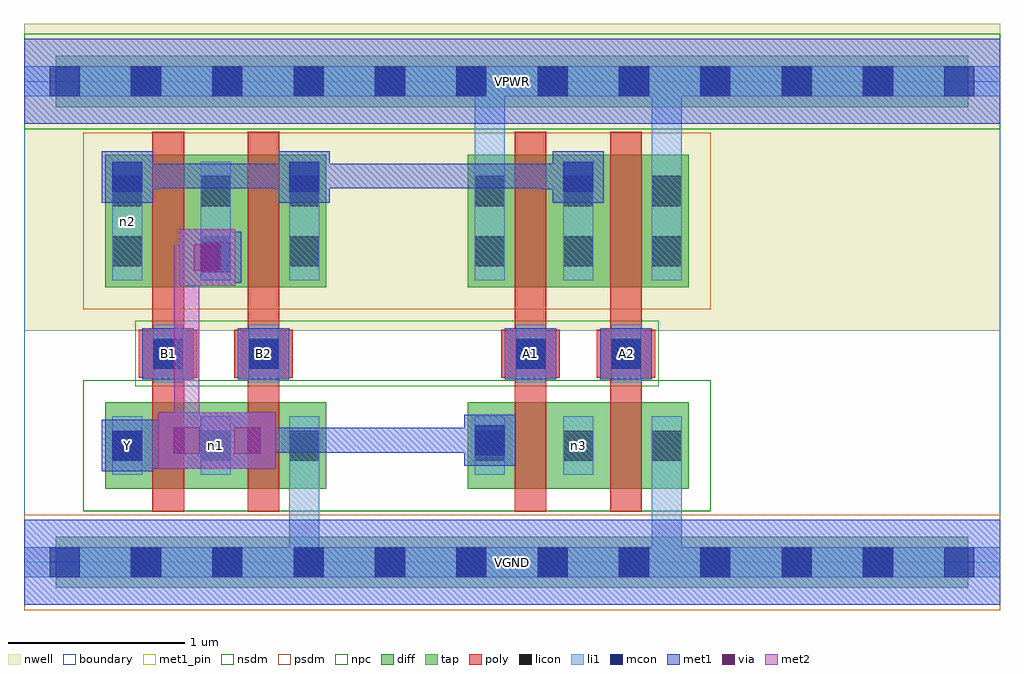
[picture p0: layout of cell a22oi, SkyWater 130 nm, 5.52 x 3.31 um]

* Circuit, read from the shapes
.subckt a22oi A1 A2 B1 B2 VGND VPWR Y n1 n2 n3
XM1 n1 B1 Y VGND sky130_fd_pr__nfet_01v8 w=0.49 l=0.18
XM2 VGND B2 n1 VGND sky130_fd_pr__nfet_01v8 w=0.49 l=0.18
XM3 n3 A1 Y VGND sky130_fd_pr__nfet_01v8 w=0.49 l=0.18
XM4 VGND A2 n3 VGND sky130_fd_pr__nfet_01v8 w=0.49 l=0.18
XM5 Y B1 n2 VPWR sky130_fd_pr__pfet_01v8 w=0.75 l=0.18
XM6 n2 B2 Y VPWR sky130_fd_pr__pfet_01v8 w=0.75 l=0.18
XM7 n2 A1 VPWR VPWR sky130_fd_pr__pfet_01v8 w=0.75 l=0.18
XM8 VPWR A2 n2 VPWR sky130_fd_pr__pfet_01v8 w=0.75 l=0.18
.ends

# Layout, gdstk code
import gdstk
lib = gdstk.Library(unit=1e-6, precision=1e-09)
def R(c, l, rs):  # rectangles x0, y0, x1, y1
    for r in rs: c.add(gdstk.rectangle(r[:2], r[2:], *l))
def A(c, l, x, y, w, h, nx, ny, dx, dy):  # array of equal rectangles
    R(c, l, [(x+i*dx, y+j*dy, x+i*dx+w, y+j*dy+h) for i in range(nx) for j in range(ny)])
nwell = (64, 20)
diff = (65, 20)
tap = (65, 44)
poly = (66, 20)
licon = (66, 44)
li1 = (67, 20)
mcon = (67, 44)
met1_pin = (68, 16)
met1 = (68, 20)
via = (68, 44)
met2 = (69, 20)
nsdm = (93, 44)
psdm = (94, 20)
npc = (95, 20)
boundary = (235, 4)

a22oi = lib.new_cell('a22oi')
R(a22oi, nwell, [(0,1.31,5.52,3.045)])
R(a22oi, diff, [(0.46,0.415,1.71,0.905), (2.51,0.415,3.76,0.905), (0.46,1.555,1.71,2.305), (2.51,1.555,3.76,2.305)])
R(a22oi, tap, [(0.18,-0.145,5.34,0.145), (0.18,2.575,5.34,2.865)])
R(a22oi, poly, [(0.725,0.285,0.905,2.435), (1.265,0.285,1.445,2.435), (2.775,0.285,2.955,2.435), (3.315,0.285,3.495,2.435), (0.65,1.045,0.98,1.315), (1.19,1.045,1.52,1.315), (2.7,1.045,3.03,1.315), (3.24,1.045,3.57,1.315)])
A(a22oi, licon, 0.605, -0.085, 0.17, 0.17, 10, 2, 0.46, 2.72)
A(a22oi, licon, 0.5, 0.575, 0.17, 0.17, 3, 2, 0.5, 1.1)
A(a22oi, licon, 2.55, 0.575, 0.17, 0.17, 3, 2, 0.5, 1.1)
A(a22oi, licon, 0.5, 2.015, 0.17, 0.17, 3, 1, 0.5, 0)
A(a22oi, licon, 2.55, 2.015, 0.17, 0.17, 3, 1, 0.5, 0)
R(a22oi, licon, [(0.73,1.095,0.9,1.265), (1.27,1.095,1.44,1.265), (2.78,1.095,2.95,1.265), (3.32,1.095,3.49,1.265)])
A(a22oi, li1, 0.5, 0.495, 0.17, 0.33, 3, 1, 0.5, 0)
A(a22oi, li1, 2.55, 0.495, 0.17, 0.33, 3, 1, 0.5, 0)
A(a22oi, li1, 0.5, 1.595, 0.17, 0.67, 3, 1, 0.5, 0)
A(a22oi, li1, 2.55, 1.595, 0.17, 0.67, 3, 1, 0.5, 0)
R(a22oi, li1, [(0,-0.085,5.52,0.085), (1.5,-0.085,1.67,0.825), (3.55,-0.085,3.72,0.825), (0.73,1.015,0.9,1.345), (1.27,1.015,1.44,1.345), (2.78,1.015,2.95,1.345), (3.32,1.015,3.49,1.345), (2.55,1.595,2.72,2.805), (3.55,1.595,3.72,2.805), (0,2.635,5.52,2.805)])
A(a22oi, mcon, 0.145, -0.085, 0.17, 0.17, 12, 2, 0.46, 2.72)
R(a22oi, mcon, [(0.5,0.575,0.67,0.745), (2.55,0.605,2.72,0.775), (0.73,1.095,0.9,1.265), (1.27,1.095,1.44,1.265), (2.78,1.095,2.95,1.265), (3.32,1.095,3.49,1.265), (1,1.64,1.17,1.81), (0.5,2.095,0.67,2.265), (1.5,2.095,1.67,2.265), (3.05,2.095,3.22,2.265)])
R(a22oi, met1_pin, [(0,-0.24,5.52,0.24), (0.44,0.515,0.73,0.805), (0.67,1.035,0.96,1.325), (1.21,1.035,1.5,1.325), (2.72,1.035,3.01,1.325), (3.26,1.035,3.55,1.325), (0,2.48,5.52,2.96)])
R(a22oi, met1, [(0,-0.24,5.52,0.24), (0.44,0.515,0.73,0.805), (0.73,0.53,0.76,0.805), (0.76,0.53,1.08,0.85), (1.08,0.53,1.105,0.85), (1.105,0.53,1.425,0.85), (2.49,0.545,2.78,0.835), (0.505,0.62,0.645,0.76), (0.505,0.62,0.99,0.76), (0.99,0.62,1.105,0.76), (1.08,0.62,1.195,0.76), (1.195,0.62,2.6,0.76), (2.46,0.62,2.705,0.76), (0.67,1.035,0.96,1.325), (1.21,1.035,1.5,1.325), (2.72,1.035,3.01,1.325), (3.26,1.035,3.55,1.325), (0.875,1.565,1.195,1.885), (0.94,1.58,1.23,1.87), (0.965,1.655,1.155,1.795), (0.44,2.035,0.73,2.325), (1.44,2.035,1.73,2.325), (2.99,2.035,3.28,2.325), (0.515,2.11,0.76,2.25), (0.62,2.11,0.76,2.255), (1.425,2.11,1.565,2.255), (1.425,2.11,1.655,2.25), (2.92,2.11,3.06,2.255), (2.92,2.11,3.205,2.25), (0.62,2.115,1.565,2.255), (1.425,2.115,3.06,2.255), (0,2.48,5.52,2.96)])
R(a22oi, via, [(0.845,0.615,0.995,0.765), (1.19,0.615,1.34,0.765), (0.96,1.65,1.11,1.8)])
R(a22oi, met2, [(0.76,0.53,1.08,0.85), (1.08,0.53,1.105,0.85), (1.105,0.53,1.425,0.85), (0.85,0.62,0.99,1.795), (0.85,0.62,1.335,0.76), (0.99,0.62,1.105,0.85), (0.875,1.565,1.195,1.885), (0.85,1.655,1.105,1.795)])
R(a22oi, nsdm, [(0.335,0.29,3.885,1.03), (0,2.45,5.52,2.99)])
R(a22oi, psdm, [(0,-0.27,5.52,0.27), (0.335,1.43,3.885,2.43)])
R(a22oi, npc, [(0.63,0.995,3.59,1.365)])
R(a22oi, boundary, [(0,0,5.52,2.72)])
a22oi.add(gdstk.Label('n1', (1.085,0.66), layer=67, texttype=5))
a22oi.add(gdstk.Label('n3', (3.135,0.66), layer=67, texttype=5))
a22oi.add(gdstk.Label('n2', (0.585,1.93), layer=67, texttype=5))
a22oi.add(gdstk.Label('A1', (2.865,1.18), layer=68, texttype=5))
a22oi.add(gdstk.Label('A2', (3.405,1.18), layer=68, texttype=5))
a22oi.add(gdstk.Label('B1', (0.815,1.18), layer=68, texttype=5))
a22oi.add(gdstk.Label('B2', (1.355,1.18), layer=68, texttype=5))
a22oi.add(gdstk.Label('Y', (0.585,0.66), layer=68, texttype=5))
a22oi.add(gdstk.Label('VPWR', (2.76,2.72), layer=68, texttype=5))
a22oi.add(gdstk.Label('VGND', (2.76,0), layer=68, texttype=5))
a22oi.add(gdstk.Label('A1', (2.865,1.18), layer=68, texttype=16))
a22oi.add(gdstk.Label('A2', (3.405,1.18), layer=68, texttype=16))
a22oi.add(gdstk.Label('B1', (0.815,1.18), layer=68, texttype=16))
a22oi.add(gdstk.Label('B2', (1.355,1.18), layer=68, texttype=16))
a22oi.add(gdstk.Label('Y', (0.585,0.66), layer=68, texttype=16))
a22oi.add(gdstk.Label('VPWR', (2.76,2.72), layer=68, texttype=16))
a22oi.add(gdstk.Label('VGND', (2.76,0), layer=68, texttype=16))

lib.write_gds('a22oi.gds')
